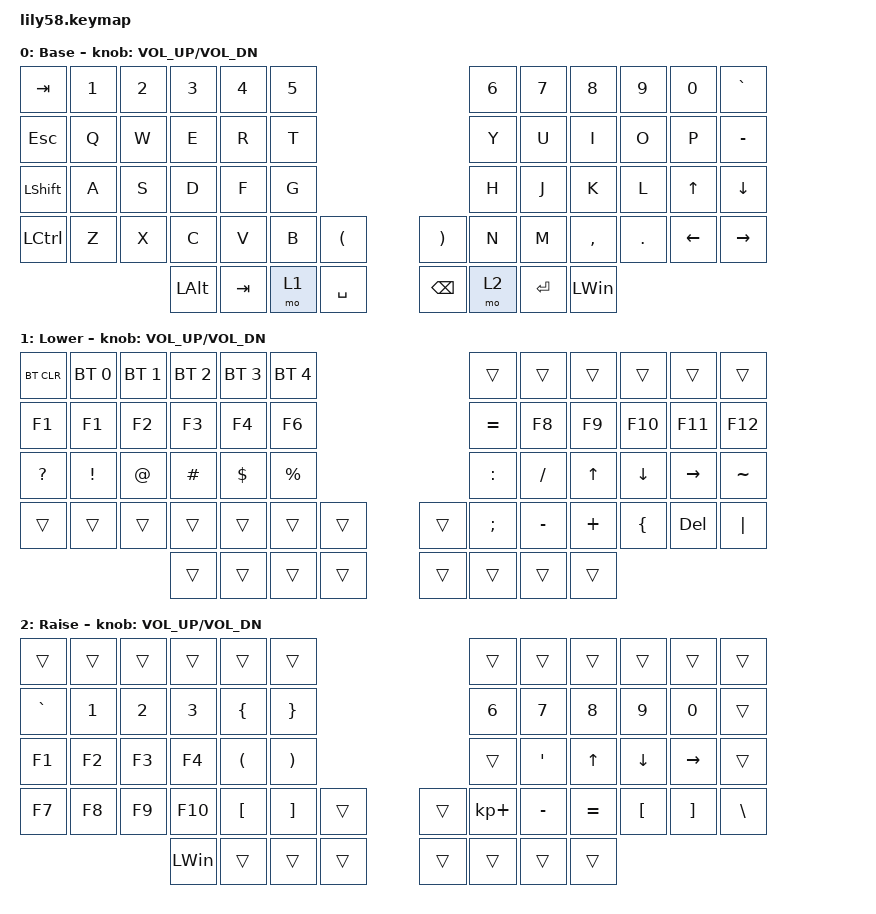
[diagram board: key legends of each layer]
/*
 * Copyright (c) 2020 The ZMK Contributors
 *
 * SPDX-License-Identifier: MIT
 */

#include <behaviors.dtsi>
#include <dt-bindings/zmk/bt.h>
#include <dt-bindings/zmk/keys.h>

/ {
    keymap {
        compatible = "zmk,keymap";

        default_layer {
            // ------------------------------------------------------------------------------------------------------------
            // |  ESC  |  1  |  2  |  3   |  4   |  5   |                   |  6   |  7    |  8    |  9   |   0   |   `   |
            // |  TAB  |  Q  |  W  |  E   |  R   |  T   |                   |  Y   |  U    |  I    |  O   |   P   |   -   |
            // |  CTRL |  A  |  S  |  D   |  F   |  G   |                   |  H   |  J    |  K    |  L   |   ;   |   '   |
            // | SHIFT |  Z  |  X  |  C   |  V   |  B   |   "["  |  |  "]"  |  N   |  M    |  ,    |  .   |   /   | SHIFT |
            //                     | ALT  | GUI  | LOWER|  SPACE |  | ENTER | RAISE| BSPC  | GUI   |

            display-name = "Base";
            bindings = <
&kp TAB           &kp N1  &kp N2  &kp N3    &kp N4   &kp N5                                                 &kp N6  &kp N7     &kp N8        &kp N9   &kp N0          &kp GRAVE
&kp ESCAPE        &kp Q   &kp W   &kp E     &kp R    &kp T                                                  &kp Y   &kp U      &kp I         &kp O    &kp P           &kp MINUS
&kp LEFT_SHIFT    &kp A   &kp S   &kp D     &kp F    &kp G                                                  &kp H   &kp J      &kp K         &kp L    &kp UP_ARROW    &kp DOWN_ARROW
&kp LEFT_CONTROL  &kp Z   &kp X   &kp C     &kp V    &kp B   &kp LEFT_PARENTHESIS    &kp RIGHT_PARENTHESIS  &kp N   &kp M      &kp COMMA     &kp DOT  &kp LEFT_ARROW  &kp RIGHT_ARROW
                                  &kp LALT  &kp TAB  &mo 1   &kp SPACE               &kp BACKSPACE          &mo 2   &kp ENTER  &kp LEFT_WIN
            >;

            sensor-bindings = <&inc_dec_kp C_VOL_UP C_VOL_DN>;
        };

        lower_layer {
            // ------------------------------------------------------------------------------------------------------------
            // | BTCLR | BT1 | BT2 |  BT3 |  BT4 |  BT5 |                   |      |       |       |      |       |       |
            // |  F1   |  F2 |  F3 |  F4  |  F5  |  F6  |                   |  F7  |  F8   |  F9   |  F10 |  F11  |  F12  |
            // |   `   |  !  |  @  |  #   |  $   |  %   |                   |  ^   |  &    |  *    |  (   |   )   |   ~   |
            // |       |     |     |      |      |      |        |  |       |      |  _    |  +    |  {   |   }   |  "|"  |
            //                     |      |      |      |        |  |       |      |       |       |

            display-name = "Lower";
            bindings = <
&bt BT_CLR    &bt BT_SEL 0  &bt BT_SEL 1  &bt BT_SEL 2  &bt BT_SEL 3  &bt BT_SEL 4                    &trans     &trans     &trans        &trans          &trans     &trans
&kp F1        &kp F1        &kp F2        &kp F3        &kp F4        &kp F6                          &kp EQUAL  &kp F8     &kp F9        &kp F10         &kp F11    &kp F12
&kp QUESTION  &kp EXCL      &kp AT        &kp HASH      &kp DOLLAR    &kp PRCNT                       &kp COLON  &kp SLASH  &kp UP_ARROW  &kp DOWN_ARROW  &kp RIGHT  &kp TILDE
&trans        &trans        &trans        &trans        &trans        &trans        &trans    &trans  &kp SEMI   &kp MINUS  &kp PLUS      &kp LBRC        &kp DEL    &kp PIPE
                                          &trans        &trans        &trans        &trans    &trans  &trans     &trans     &trans
            >;

            sensor-bindings = <&inc_dec_kp C_VOL_UP C_VOL_DN>;
        };

        raise_layer {
            // ------------------------------------------------------------------------------------------------------------
            // |       |     |     |      |      |      |                   |      |       |       |      |       |       |
            // |   `   |  1  |  2  |  3   |  4   |  5   |                   |  6   |   7   |   8   |  9   |   0   |       |
            // |   F1  |  F2 |  F3 |  F4  |  F5  |  F6  |                   |      |   <-  |   v   |  ^   |  ->   |       |
            // |   F7  |  F8 |  F9 |  F10 |  F11 |  F12 |        |  |       |  +   |   -   |   =   |  [   |   ]   |   \   |
            //                     |      |      |      |        |  |       |      |       |       |

            display-name = "Raise";
            bindings = <
&trans     &trans  &trans  &trans        &trans                &trans                                   &trans        &trans          &trans        &trans          &trans     &trans
&kp GRAVE  &kp N1  &kp N2  &kp N3        &kp LEFT_BRACE        &kp RIGHT_BRACE                          &kp NUMBER_6  &kp N7          &kp N8        &kp N9          &kp N0     &trans
&kp F1     &kp F2  &kp F3  &kp F4        &kp LEFT_PARENTHESIS  &kp RIGHT_PARENTHESIS                    &trans        &kp APOSTROPHE  &kp UP_ARROW  &kp DOWN_ARROW  &kp RIGHT  &trans
&kp F7     &kp F8  &kp F9  &kp F10       &kp LEFT_BRACKET      &kp RIGHT_BRACKET      &trans    &trans  &kp KP_PLUS   &kp MINUS       &kp EQUAL     &kp LBKT        &kp RBKT   &kp BSLH
                           &kp LEFT_WIN  &trans                &trans                 &trans    &trans  &trans        &trans          &trans
            >;

            sensor-bindings = <&inc_dec_kp C_VOL_UP C_VOL_DN>;
        };

        extra_1 { status = "reserved"; };

        extra_2 { status = "reserved"; };

        extra_3 { status = "reserved"; };
    };
};
